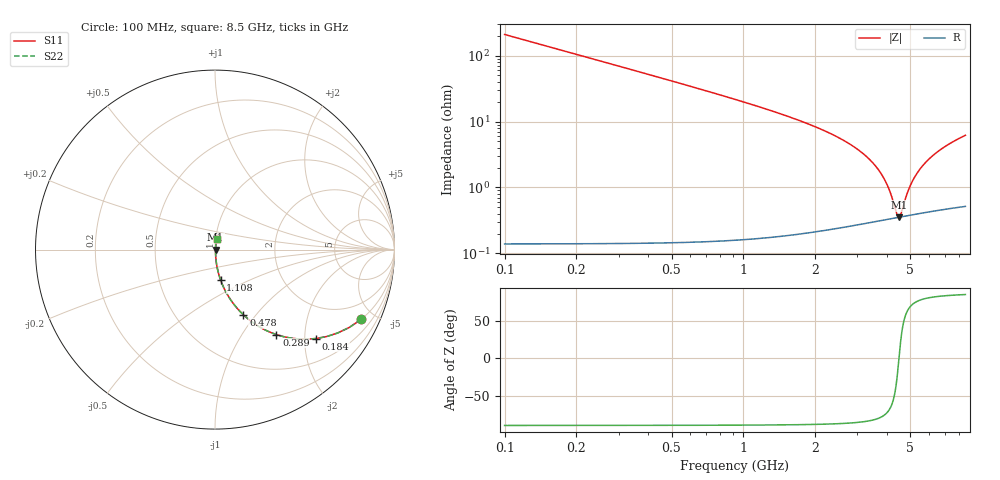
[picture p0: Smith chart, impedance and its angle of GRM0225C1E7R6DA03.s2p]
!Murata Part Number: GRM0225C1E7R6DA03
!These Parameters are Measured in Series Mode Connection
!Data Generated on Mar 30, 2021
!  o--ll--o
!Port1  Port2
!  o------o
!Operation Temp=25[degC], DC Bias Voltage=0[V]
!Freq. Start=100[MHz] Stop=9[GHz] 401[Steps]
# Hz S RI R 50
!Freq.(Hz) S11(Real) S11(Imag) S21(Real) S21(Imag) S12(Real) S12(Imag) S22(Real) S22(Imag)
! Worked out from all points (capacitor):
!   401 points, 100 MHz to 8.5 GHz, reference 50 ohm
!   read as one part in series: C = 7.6 pF near 142 MHz
!   lowest |Z| = 354 mohm at 4.468 GHz (marker M1)
!   series resonance near 4.48 GHz, so ESL is about 170 pH
!   S11 on the Smith chart (normalised r, x): 100 MHz: 1.00, -4.19; 184 MHz: 1.00, -2.27; 289 MHz: 1.00, -1.44; 478 MHz: 1.00, -0.87; 1.108 GHz: 1.00, -0.35; 8.5 GHz: 1.01, +0.12
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1e8  0.814 -0.3888  0.186 0.3888  0.186 0.3888  0.814 -0.3888
1.84e8  0.5634 -0.4954  0.4366 0.4954  0.4366 0.4954  0.5634 -0.4954
2.89e8  0.3426 -0.4736  0.6574 0.4736  0.6574 0.4736  0.3426 -0.4736
4.78e8  0.1587 -0.3637  0.8413 0.3637  0.8413 0.3637  0.1587 -0.3637
7.09e8  0.0776 -0.2649  0.9224 0.2649  0.9224 0.2649  0.0776 -0.2649
1.108e9  0.0319 -0.1711  0.9681 0.1711  0.9681 0.1711  0.0319 -0.1711
1.507e9  0.0166 -0.1204  0.9834 0.1204  0.9834 0.1204  0.0166 -0.1204
2.914e9  0.00431 -0.0407  0.9957 0.0407  0.9957 0.0407  0.00431 -0.0407
3.397e9  0.00359 -0.0257  0.9964 0.0257  0.9964 0.0257  0.00359 -0.0257
3.775e9  0.00339 -0.0157  0.9966 0.0157  0.9966 0.0157  0.00339 -0.0157
4.048e9  0.00338 -0.00927  0.9966 0.00927  0.9966 0.00927  0.00338 -0.00927
4.3e9  0.00344 -0.00374  0.9966 0.00374  0.9966 0.00374  0.00344 -0.00374
4.405e9  0.00348 -0.00154  0.9965 0.00154  0.9965 0.00154  0.00348 -0.00154
4.468e9  0.00352 -0.000251  0.9965 0.000251  0.9965 0.000251  0.00352 -0.000251
4.552e9  0.00356 0.00144  0.9964 -0.00144  0.9964 -0.00144  0.00356 0.00144
4.825e9  0.00374 0.00673  0.9963 -0.00673  0.9963 -0.00673  0.00374 0.00673
5.056e9  0.00394 0.011  0.9961 -0.011  0.9961 -0.011  0.00394 0.011
5.35e9  0.00422 0.0161  0.9958 -0.0161  0.9958 -0.0161  0.00422 0.0161
5.707e9  0.00461 0.022  0.9954 -0.022  0.9954 -0.022  0.00461 0.022
6.316e9  0.00538 0.0315  0.9946 -0.0315  0.9946 -0.0315  0.00538 0.0315
7.114e9  0.00654 0.0429  0.9935 -0.0429  0.9935 -0.0429  0.00654 0.0429
8.5e9  0.00887 0.0608  0.9911 -0.0608  0.9911 -0.0608  0.00887 0.0608
